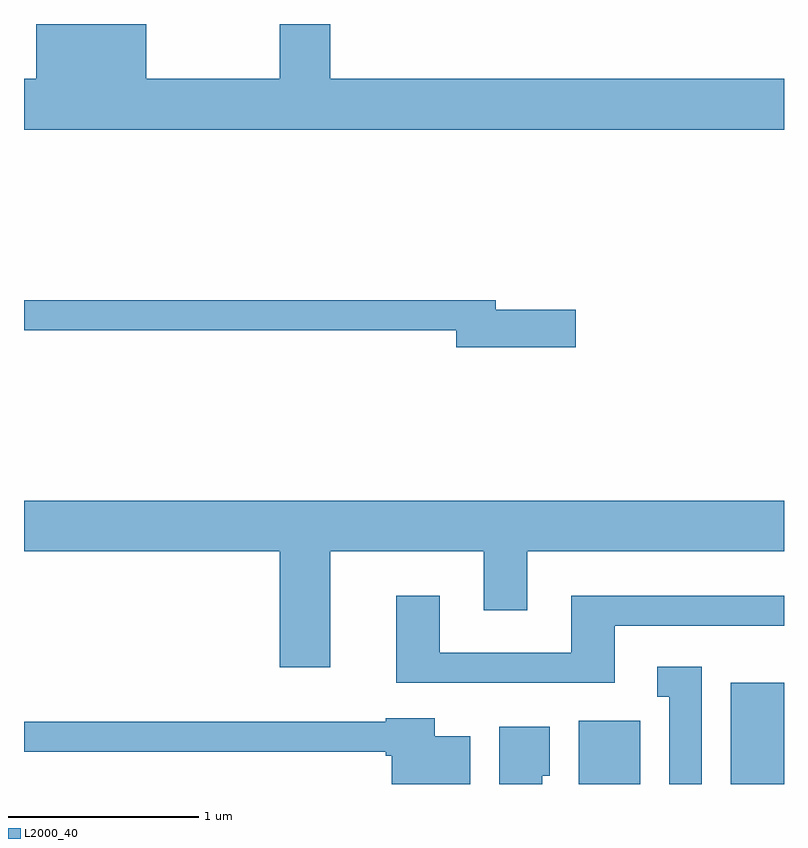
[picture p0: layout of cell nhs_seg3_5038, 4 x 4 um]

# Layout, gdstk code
import gdstk
lib = gdstk.Library(unit=1e-6, precision=1e-09)
def R(c, l, rs):  # rectangles x0, y0, x1, y1
    for r in rs: c.add(gdstk.rectangle(r[:2], r[2:], *l))
def P(c, l, *ps):  # polygons
    for p in ps: c.add(gdstk.Polygon(p, *l))
L2000_40 = (2000, 40)

nhs_seg3_5038 = lib.new_cell('nhs_seg3_5038')
R(nhs_seg3_5038, L2000_40, [(336.531,1135.892,336.854,1136.224), (337.331,1135.892,337.611,1136.424)])
P(nhs_seg3_5038, L2000_40, [(337.611,1139.604),(335.224,1139.604),(335.224,1139.892),(334.956,1139.892),(334.956,1139.604),(334.254,1139.604),(334.254,1139.892),(333.676,1139.892),(333.676,1139.604),(333.611,1139.604),(333.611,1139.336),(337.611,1139.336)],
  [(336.514,1138.389),(336.094,1138.389),(336.094,1138.439),(333.611,1138.439),(333.611,1138.281),(335.886,1138.281),(335.886,1138.191),(336.514,1138.191)],
  [(335.224,1137.116),(336.031,1137.116),(336.031,1136.806),(336.259,1136.806),(336.259,1137.116),(337.611,1137.116),(337.611,1137.384),(333.611,1137.384),(333.611,1137.116),(334.956,1137.116),(334.956,1136.506),(335.224,1136.506)],
  [(336.719,1136.726),(337.611,1136.726),(337.611,1136.884),(336.491,1136.884),(336.491,1136.584),(335.799,1136.584),(335.799,1136.884),(335.571,1136.884),(335.571,1136.426),(336.719,1136.426)],
  [(337.179,1136.509),(336.943,1136.509),(336.943,1136.351),(337.006,1136.351),(337.006,1135.892),(337.179,1135.892)],
  [(335.959,1136.144),(335.774,1136.144),(335.774,1136.239),(335.516,1136.239),(335.516,1136.219),(333.611,1136.219),(333.611,1136.061),(335.516,1136.061),(335.516,1136.041),(335.546,1136.041),(335.546,1135.892),(335.959,1135.892)],
  [(336.339,1135.936),(336.379,1135.936),(336.379,1136.194),(336.111,1136.194),(336.111,1135.892),(336.339,1135.892)])

lib.write_gds('nhs_seg3_5038.gds')
